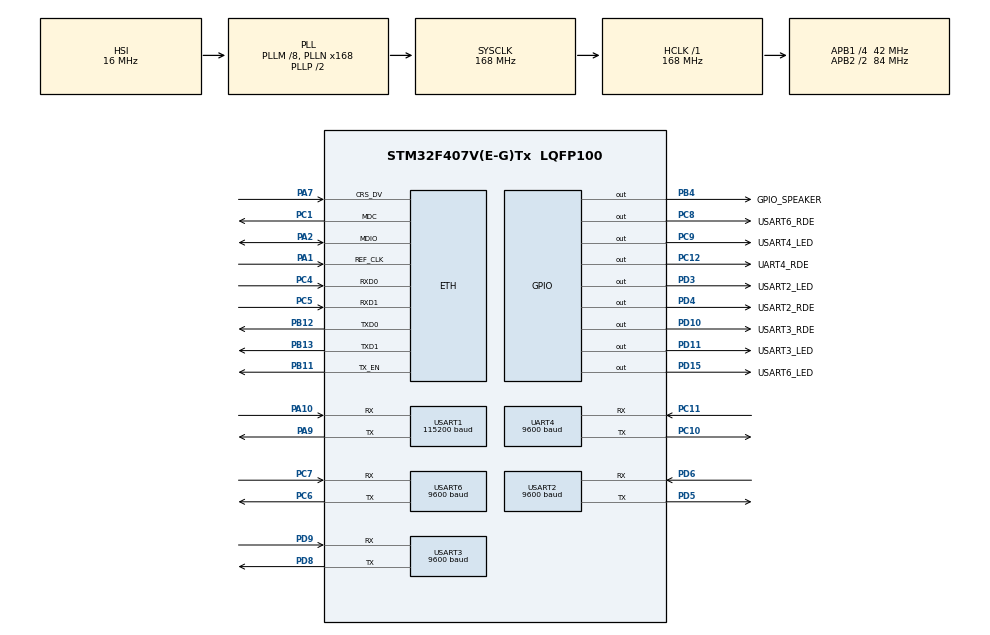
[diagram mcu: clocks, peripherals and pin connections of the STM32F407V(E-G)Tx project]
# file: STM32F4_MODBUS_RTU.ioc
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ETH.AutoNegotiation=ETH_AUTONEGOTIATION_ENABLE
ETH.ChecksumMode=ETH_CHECKSUM_BY_HARDWARE
ETH.MACAddr=00\:80\:E1\:00\:00\:00
ETH.MediaInterface=ETH_MEDIA_INTERFACE_RMII
ETH.PHY_Name_RMII=userPHY
ETH.PHY_READ_TO=0x0004FFFF
ETH.PHY_WRITE_TO=0x0004FFFF
FREERTOS.BinarySemaphores01=netMqttIpSemaphore,Dynamic,NULL
FREERTOS.HEAP_NUMBER=4
FREERTOS.INCLUDE_vTaskCleanUpResources=1
FREERTOS.Tasks01=defaultTask,0,512,StartDefaultTask,Default,NULL,Dynamic,NULL,NULL
FREERTOS.Timers01=myTimer01,Callback01,osTimerPeriodic,Default,NULL,Dynamic,NULL
FREERTOS.configCHECK_FOR_STACK_OVERFLOW=1
FREERTOS.configMAX_PRIORITIES=7
FREERTOS.configTOTAL_HEAP_SIZE=51200
FREERTOS.configUSE_DAEMON_TASK_STARTUP_HOOK=1
FREERTOS.configUSE_IDLE_HOOK=0
FREERTOS.configUSE_MALLOC_FAILED_HOOK=1
FREERTOS.configUSE_NEWLIB_REENTRANT=0
FREERTOS.configUSE_TICK_HOOK=0
FREERTOS.configUSE_TIMERS=1
FREERTOS.copyHeapFile=1
LWIP.GATEWAY_ADDRESS=192.168.001.001
LWIP.IP_ADDRESS=192.168.001.020
LWIP.LWIP_DHCP=0
LWIP.LWIP_HTTPD=1
LWIP.MEMP_NUM_PBUF=16*2
LWIP.MEMP_NUM_RAW_PCB=4*2
LWIP.MEMP_NUM_TCP_PCB_LISTEN=8*2
LWIP.MEM_SIZE=1600*10
LWIP.NETMASK_ADDRESS=255.255.255.000
LWIP.PBUF_POOL_BUFSIZE=592
LWIP.TCP_MSS=1024
LWIP.Version=v2.1.2_Cube
Mcu.Family=STM32F4
Mcu.Name=STM32F407V(E-G)Tx
Mcu.Package=LQFP100
Mcu.UserConstants=userPHY,0x00;PHY_USER_NAME_PHY_ADDRESS,0x00
NVIC.ETH_IRQn=true\:0\:0\:false\:false\:true\:true\:false\:true
NVIC.PriorityGroup=NVIC_PRIORITYGROUP_4
NVIC.TIM1_UP_TIM10_IRQn=true\:0\:0\:false\:false\:true\:false\:false\:true
NVIC.TIM7_IRQn=true\:5\:0\:true\:false\:true\:true\:true\:true
NVIC.TimeBase=TIM1_UP_TIM10_IRQn
NVIC.TimeBaseIP=TIM1
NVIC.UART4_IRQn=true\:0\:0\:false\:false\:true\:true\:true\:true
NVIC.USART1_IRQn=true\:0\:0\:false\:false\:true\:true\:true\:true
NVIC.USART2_IRQn=true\:0\:0\:false\:false\:true\:true\:true\:true
NVIC.USART3_IRQn=true\:0\:0\:false\:false\:true\:true\:true\:true
NVIC.USART6_IRQn=true\:5\:0\:true\:false\:true\:true\:true\:true
PA1.Mode=RMII
PA1.Signal=ETH_REF_CLK
PA10.Mode=Asynchronous
PA10.Signal=USART1_RX
PA13.GPIO_Label=SWDIO
PA13.Mode=Serial_Wire
PA13.Signal=SYS_JTMS-SWDIO
PA14.GPIO_Label=SWCLK
PA14.Mode=Serial_Wire
PA14.Signal=SYS_JTCK-SWCLK
PA2.Mode=RMII
PA2.Signal=ETH_MDIO
PA7.Mode=RMII
PA7.Signal=ETH_CRS_DV
PA9.Mode=Asynchronous
PA9.Signal=USART1_TX
PB11.Mode=RMII
PB11.Signal=ETH_TX_EN
PB12.Mode=RMII
PB12.Signal=ETH_TXD0
PB13.Mode=RMII
PB13.Signal=ETH_TXD1
PB3.GPIO_Label=SWO
PB3.Signal=SYS_JTDO-SWO
PB4.GPIO_Label=GPIO_SPEAKER
PB4.Signal=GPIO_Output
PC1.Mode=RMII
PC1.Signal=ETH_MDC
PC10.Mode=Asynchronous
PC10.Signal=UART4_TX
PC11.Mode=Asynchronous
PC11.Signal=UART4_RX
PC12.GPIO_Label=UART4_RDE
PC12.Signal=GPIO_Output
PC14-OSC32_IN.GPIO_Label=PC14-OSC32_IN
PC14-OSC32_IN.Signal=RCC_OSC32_IN
PC15-OSC32_OUT.GPIO_Label=PC15-OSC32_OUT
PC15-OSC32_OUT.Signal=RCC_OSC32_OUT
PC4.Mode=RMII
PC4.Signal=ETH_RXD0
PC5.Mode=RMII
PC5.Signal=ETH_RXD1
PC6.Mode=Asynchronous
PC6.Signal=USART6_TX
PC7.Mode=Asynchronous
PC7.Signal=USART6_RX
PC8.GPIO_Label=USART6_RDE
PC8.Signal=GPIO_Output
PC9.GPIO_Label=USART4_LED
PC9.Signal=GPIO_Output
PD10.GPIO_Label=USART3_RDE
PD10.Signal=GPIO_Output
PD11.GPIO_Label=USART3_LED
PD11.Signal=GPIO_Output
PD15.GPIO_Label=USART6_LED
PD15.Signal=GPIO_Output
PD3.GPIO_Label=USART2_LED
PD3.Signal=GPIO_Output
PD4.GPIO_Label=USART2_RDE
PD4.Signal=GPIO_Output
PD5.Mode=Asynchronous
PD5.Signal=USART2_TX
PD6.Mode=Asynchronous
PD6.Signal=USART2_RX
PD8.Mode=Asynchronous
PD8.Signal=USART3_TX
PD9.Mode=Asynchronous
PD9.Signal=USART3_RX
PH0-OSC_IN.GPIO_Label=PH0-OSC_IN
PH0-OSC_IN.Mode=HSE-External-Oscillator
PH0-OSC_IN.Signal=RCC_OSC_IN
PH1-OSC_OUT.GPIO_Label=PH1-OSC_OUT
PH1-OSC_OUT.Mode=HSE-External-Oscillator
PH1-OSC_OUT.Signal=RCC_OSC_OUT
ProjectManager.HeapSize=0x200
ProjectManager.StackSize=0x400
ProjectManager.TargetToolchain=STM32CubeIDE
RCC.48MHZClocksFreq_Value=48000000
RCC.AHBFreq_Value=168000000
RCC.APB1CLKDivider=RCC_HCLK_DIV4
RCC.APB1Freq_Value=42000000
RCC.APB1TimFreq_Value=84000000
RCC.APB2CLKDivider=RCC_HCLK_DIV2
RCC.APB2Freq_Value=84000000
RCC.APB2TimFreq_Value=168000000
RCC.CortexFreq_Value=168000000
RCC.HCLKFreq_Value=168000000
RCC.HSE_VALUE=12000000
RCC.HSI_VALUE=16000000
RCC.LSE_VALUE=32768
RCC.PLLM=8
RCC.PLLN=168
RCC.PLLQ=7
RCC.SYSCLKFreq_VALUE=168000000
RCC.SYSCLKSource=RCC_SYSCLKSOURCE_PLLCLK
RCC.VCOOutputFreq_Value=336000000
RTC.Format=RTC_FORMAT_BCD
TIM7.TIM_MasterOutputTrigger=TIM_TRGO_UPDATE
UART4.BaudRate=9600
UART4.VirtualMode=Asynchronous
USART1.BaudRate=115200
USART1.VirtualMode=VM_ASYNC
USART2.BaudRate=9600
USART2.VirtualMode=VM_ASYNC
USART3.BaudRate=9600
USART3.VirtualMode=VM_ASYNC
USART6.BaudRate=9600
USART6.VirtualMode=VM_ASYNC
VP_FREERTOS_VS_CMSIS_V1.Mode=CMSIS_V1
VP_LWIP_VS_Enabled.Mode=Enabled
VP_RTC_VS_RTC_Activate.Mode=RTC_Enabled
VP_RTC_VS_RTC_Calendar.Mode=RTC_Calendar
VP_SYS_VS_tim1.Mode=TIM1
VP_TIM7_VS_ClockSourceINT.Mode=Enable_Timer
board=STM32F4DISCOVERY

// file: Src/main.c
/* USER CODE BEGIN Header */
/**
  ******************************************************************************
  * @file           : main.c
  * @brief          : Main program body
  ******************************************************************************
  * @attention
  *
  * <h2><center>&copy; Copyright (c) 2020 STMicroelectronics.
  * All rights reserved.</center></h2>
  *
  * This software component is licensed by ST under Ultimate Liberty license
  * SLA0044, the "License"; You may not use this file except in compliance with
  * the License. You may obtain a copy of the License at:
  *                             www.st.com/SLA0044
  *
  ******************************************************************************
  */
/* USER CODE END Header */

#include "main.h"
#include "cmsis_os.h"
#include "lwip.h"
#include "rtc.h"
#include "tim.h"
#include "usart.h"
#include "gpio.h"

/* USER CODE BEGIN Includes */
#include <stdint.h>
#include <stdio.h>
#include <string.h>

//#include "..\Middlewares\Third_Party\modbus\include\mb_m.h"
#include "mb_m.h"
#include "mbport.h"
#include "flash.h"
#include "param.h"
/* USER CODE END Includes */

/* USER CODE BEGIN PV */
/* Private variables ---------------------------------------------------------*/
extern host_param_t hostParam;
extern network_param_t netParam;
extern network_param_t mqttHostParam;
uint8_t PRINTF_EN;
/* Shared variables ------------------*/
extern osThreadId mbProtocolTask;
extern osThreadId mbAppTask;
extern osThreadId mbDownlinkTask;
//extern osThreadId provisionTask;  // HERE

/* USER CODE END PV */

void SystemClock_Config(void);
void MX_FREERTOS_Init(void);
/* USER CODE BEGIN PFP */
/* Private function prototypes -----------------------------------------------*/

void vApplicationStackOverflowHook( TaskHandle_t xTask,
                                    signed char *pcTaskName );
/* USER CODE END PFP */

int main(void)
{

  /* MCU Configuration--------------------------------------------------------*/

  /* Reset of all peripherals, Initializes the Flash interface and the Systick. */
  HAL_Init();

  /* Configure the system clock */
  SystemClock_Config();

  /* Initialize all configured peripherals */
  MX_GPIO_Init();
  MX_USART2_UART_Init();
  MX_TIM7_Init();
  MX_USART1_UART_Init();
  MX_USART3_UART_Init();
  MX_UART4_Init();
  MX_USART6_UART_Init();
  MX_RTC_Init();
  /* USER CODE BEGIN 2 */
	for(int i =0; i <2; i++)
	{
	HAL_GPIO_TogglePin(USART2_LED_GPIO_Port,USART2_LED_Pin );
	HAL_Delay(100);
	HAL_GPIO_TogglePin(USART3_LED_GPIO_Port,USART2_LED_Pin );
	HAL_Delay(100);
	HAL_GPIO_TogglePin(USART4_LED_GPIO_Port,USART4_LED_Pin );
	HAL_Delay(100);
	HAL_GPIO_TogglePin(USART6_LED_GPIO_Port,USART6_LED_Pin );
	HAL_Delay(100);
	}
	__HAL_UART_ENABLE_IT(&huart1, UART_IT_RXNE);

	printf("\r\n ********* Access Controller Board **************** \r\n");
	printf("\r\n NTT BK \r\n");
	printf("\r\n System  starting \r\n");
	__disable_irq();
	xFlashLoad();
	__enable_irq();
  /* USER CODE END 2 */
  /* Call init function for freertos objects (in freertos.c) */
  MX_FREERTOS_Init();
  /* Start scheduler */
  osKernelStart();

  /* We should never get here as control is now taken by the scheduler */
  /* Infinite loop */
  while (1)
  {

  }
}

void SystemClock_Config(void)
{
  RCC_OscInitTypeDef RCC_OscInitStruct = {0};
  RCC_ClkInitTypeDef RCC_ClkInitStruct = {0};
  RCC_PeriphCLKInitTypeDef PeriphClkInitStruct = {0};

  /** Configure the main internal regulator output voltage
  */
  __HAL_RCC_PWR_CLK_ENABLE();
  __HAL_PWR_VOLTAGESCALING_CONFIG(PWR_REGULATOR_VOLTAGE_SCALE1);
  /** Initializes the CPU, AHB and APB busses clocks
  */
  RCC_OscInitStruct.OscillatorType = RCC_OSCILLATORTYPE_HSI|RCC_OSCILLATORTYPE_LSI;
  RCC_OscInitStruct.HSIState = RCC_HSI_ON;
  RCC_OscInitStruct.HSICalibrationValue = RCC_HSICALIBRATION_DEFAULT;
  RCC_OscInitStruct.LSIState = RCC_LSI_ON;
  RCC_OscInitStruct.PLL.PLLState = RCC_PLL_ON;
  RCC_OscInitStruct.PLL.PLLSource = RCC_PLLSOURCE_HSI;
  RCC_OscInitStruct.PLL.PLLM = 8;
  RCC_OscInitStruct.PLL.PLLN = 168;
  RCC_OscInitStruct.PLL.PLLP = RCC_PLLP_DIV2;
  RCC_OscInitStruct.PLL.PLLQ = 7;
  if (HAL_RCC_OscConfig(&RCC_OscInitStruct) != HAL_OK)
  {
    Error_Handler();
  }
  /** Initializes the CPU, AHB and APB busses clocks
  */
  RCC_ClkInitStruct.ClockType = RCC_CLOCKTYPE_HCLK|RCC_CLOCKTYPE_SYSCLK
                              |RCC_CLOCKTYPE_PCLK1|RCC_CLOCKTYPE_PCLK2;
  RCC_ClkInitStruct.SYSCLKSource = RCC_SYSCLKSOURCE_PLLCLK;
  RCC_ClkInitStruct.AHBCLKDivider = RCC_SYSCLK_DIV1;
  RCC_ClkInitStruct.APB1CLKDivider = RCC_HCLK_DIV4;
  RCC_ClkInitStruct.APB2CLKDivider = RCC_HCLK_DIV2;

  if (HAL_RCC_ClockConfig(&RCC_ClkInitStruct, FLASH_LATENCY_5) != HAL_OK)
  {
    Error_Handler();
  }
  PeriphClkInitStruct.PeriphClockSelection = RCC_PERIPHCLK_RTC;
  PeriphClkInitStruct.RTCClockSelection = RCC_RTCCLKSOURCE_LSI;
  if (HAL_RCCEx_PeriphCLKConfig(&PeriphClkInitStruct) != HAL_OK)
  {
    Error_Handler();
  }
}

/* USER CODE BEGIN 4 */

/**
  * @brief  Retargets the C library printf function to the USART.
  * @param  None
  * @retval None
  */
PUTCHAR_PROTOTYPE
{
  /* Place your implementation of fputc here */
  /* e.g. write a character to the USART */
//  USART_SendData(EVAL_COM1, (uint8_t) ch);
	HAL_UART_Transmit(&huart1, (uint8_t *)&ch, 1, 0xFFFF);

  /* Loop until the end of transmission */
//  while (USART_GetFlagStatus(EVAL_COM1, USART_FLAG_TC) == RESET)
//  {}

  return ch;
}
/* USER CODE END 4 */

 /**
  * @brief  Period elapsed callback in non blocking mode
  * @note   This function is called  when TIM1 interrupt took place, inside
  * HAL_TIM_IRQHandler(). It makes a direct call to HAL_IncTick() to increment
  * a global variable "uwTick" used as application time base.
  * @param  htim : TIM handle
  * @retval None
  */
void HAL_TIM_PeriodElapsedCallback(TIM_HandleTypeDef *htim)
{
  if (htim->Instance == TIM1) {
    HAL_IncTick();
  }
  /* USER CODE BEGIN Callback 1 */
 void vApplicationStackOverflowHook( TaskHandle_t xTask,
                                      signed char *pcTaskName )
  {
	  printf("\r\n Stack Overflowwwww ");
  }
 void vApplicationMallocFailedHook(void){
	 printf("\r\n vApplicationMallocFailedHook: Stack Overflowwwww ");
 }
 void vApplicationDaemonTaskStartupHook(void)
 {
	 printf("\r\n vApplicationDaemonTaskStartupHook");
 }
  /* USER CODE END Callback 1 */
}

void Error_Handler(void)
{
  /* USER CODE BEGIN Error_Handler_Debug */
  /* User can add his own implementation to report the HAL error return state */
	  printf("\r\n Error_Handler ");
  /* USER CODE END Error_Handler_Debug */
}

/************************ (C) COPYRIGHT STMicroelectronics *****END OF FILE****/

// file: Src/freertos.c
/* USER CODE BEGIN Header */
/**
 ******************************************************************************
 * File Name          : freertos.c
 * Description        : Code for freertos applications
 ******************************************************************************
 * @attention
 *
 * <h2><center>&copy; Copyright (c) 2020 STMicroelectronics.
 * All rights reserved.</center></h2>
 *
 * This software component is licensed by ST under Ultimate Liberty license
 * SLA0044, the "License"; You may not use this file except in compliance with
 * the License. You may obtain a copy of the License at:
 *                             www.st.com/SLA0044
 *
 ******************************************************************************
 */
/* USER CODE END Header */

#include "FreeRTOS.h"
#include "task.h"
#include "main.h"
#include "cmsis_os.h"

/* USER CODE BEGIN Includes */
#include "stdint.h"
#include "stdio.h"
#include "rtc.h"
#include "usart.h"
#include <command.h>
#include "cmdline.h"
/* USER CODE END Includes */

/* USER CODE BEGIN Variables */
/* Shared variables ------------------*/
extern osThreadId mbProtocolTask;
extern osThreadId mbAppTask;
extern osThreadId netPROVISIONTask; // HERE
extern osThreadId netSIMTask;  // HERE
extern osThreadId mbDownlinkTask; // HERE
extern osThreadId netTimeTask;
extern osThreadId netHTTPTask;
extern osThreadId netMQTTTask;
extern osThreadId netTcpEchoTask;
osThreadId resetHandlerTask;
osThreadId flashTask;
extern uint32_t gotCommandFlag;
extern uint8_t commandBuffer[100];
extern uint32_t commandBufferIndex;
//extern network_param_t mqttHostParam;
osMessageQId xQueueControlHandle;
osMessageQId xQueueMessageHandle;
osMessageQId xQueueDownlinkHandle;
osMessageQId xQueueUplinkHandle;
osMessageQId xQueueResetHandle;
/* USER CODE END Variables */
osThreadId defaultTaskHandle;
osTimerId myTimer01Handle;
osSemaphoreId netMqttIpSemaphoreHandle;

/* USER CODE BEGIN FunctionPrototypes */
extern void ModbusRTUTask(void const * argument);
extern void ModbusTestTask(void const * argument);
extern void ModbusDownlinkTask(void const * argument); //HERE
extern void http_server_netconn_init();
extern void NetworkTimeTask(void const *arg);
extern void TcpDiscoverTask(void *arg);
extern void http_server_netconn_thread();
extern void netmqttTask(void const *arg);
extern void netsimTask(void const *arg); // HERE
extern void ProvisionTestTask(void const *arg); // HERE

void ResetHandlerTask(void *arg);
/* USER CODE END FunctionPrototypes */

void StartDefaultTask(void const * argument);
void Callback01(void const * argument);

extern void MX_LWIP_Init(void);
void MX_FREERTOS_Init(void); /* (MISRA C 2004 rule 8.1) */

/* GetIdleTaskMemory prototype (linked to static allocation support) */
void vApplicationGetIdleTaskMemory( StaticTask_t **ppxIdleTaskTCBBuffer, StackType_t **ppxIdleTaskStackBuffer, uint32_t *pulIdleTaskStackSize );

/* GetTimerTaskMemory prototype (linked to static allocation support) */
void vApplicationGetTimerTaskMemory( StaticTask_t **ppxTimerTaskTCBBuffer, StackType_t **ppxTimerTaskStackBuffer, uint32_t *pulTimerTaskStackSize );

/* Hook prototypes */
void vApplicationStackOverflowHook(xTaskHandle xTask, signed char *pcTaskName);
void vApplicationMallocFailedHook(void);
void vApplicationDaemonTaskStartupHook(void);

/* USER CODE BEGIN 4 */
__weak void vApplicationStackOverflowHook(xTaskHandle xTask,
		signed char *pcTaskName) {
	/* Run time stack overflow checking is performed if
	 configCHECK_FOR_STACK_OVERFLOW is defined to 1 or 2. This hook function is
	 called if a stack overflow is detected. */
}
/* USER CODE END 4 */

/* USER CODE BEGIN 5 */
__weak void vApplicationMallocFailedHook(void) {
	/* vApplicationMallocFailedHook() will only be called if
	 configUSE_MALLOC_FAILED_HOOK is set to 1 in FreeRTOSConfig.h. It is a hook
	 function that will get called if a call to pvPortMalloc() fails.
	 pvPortMalloc() is called internally by the kernel whenever a task, queue,
	 timer or semaphore is created. It is also called by various parts of the
	 demo application. If heap_1.c or heap_2.c are used, then the size of the
	 heap available to pvPortMalloc() is defined by configTOTAL_HEAP_SIZE in
	 FreeRTOSConfig.h, and the xPortGetFreeHeapSize() API function can be used
	 to query the size of free heap space that remains (although it does not
	 provide information on how the remaining heap might be fragmented). */
}
/* USER CODE END 5 */

/* USER CODE BEGIN DAEMON_TASK_STARTUP_HOOK */
void vApplicationDaemonTaskStartupHook(void) {
}
/* USER CODE END DAEMON_TASK_STARTUP_HOOK */

/* USER CODE BEGIN GET_IDLE_TASK_MEMORY */
static StaticTask_t xIdleTaskTCBBuffer;
static StackType_t xIdleStack[configMINIMAL_STACK_SIZE];

void vApplicationGetIdleTaskMemory(StaticTask_t **ppxIdleTaskTCBBuffer,
		StackType_t **ppxIdleTaskStackBuffer, uint32_t *pulIdleTaskStackSize) {
	*ppxIdleTaskTCBBuffer = &xIdleTaskTCBBuffer;
	*ppxIdleTaskStackBuffer = &xIdleStack[0];
	*pulIdleTaskStackSize = configMINIMAL_STACK_SIZE;
	/* place for user code */
}
/* USER CODE END GET_IDLE_TASK_MEMORY */

/* USER CODE BEGIN GET_TIMER_TASK_MEMORY */
static StaticTask_t xTimerTaskTCBBuffer;
static StackType_t xTimerStack[configTIMER_TASK_STACK_DEPTH];

void vApplicationGetTimerTaskMemory(StaticTask_t **ppxTimerTaskTCBBuffer,
		StackType_t **ppxTimerTaskStackBuffer, uint32_t *pulTimerTaskStackSize) {
	*ppxTimerTaskTCBBuffer = &xTimerTaskTCBBuffer;
	*ppxTimerTaskStackBuffer = &xTimerStack[0];
	*pulTimerTaskStackSize = configTIMER_TASK_STACK_DEPTH;
	/* place for user code */
}
/* USER CODE END GET_TIMER_TASK_MEMORY */

void MX_FREERTOS_Init(void) {

  /* Create the semaphores(s) */
  /* definition and creation of netMqttIpSemaphore */
  osSemaphoreDef(netMqttIpSemaphore);
  netMqttIpSemaphoreHandle = osSemaphoreCreate(osSemaphore(netMqttIpSemaphore), 1);

  /* Create the timer(s) */
  /* definition and creation of myTimer01 */
  osTimerDef(myTimer01, Callback01);
  myTimer01Handle = osTimerCreate(osTimer(myTimer01), osTimerPeriodic, NULL);

  /* USER CODE BEGIN RTOS_QUEUES */
	/* add queues, ... */

	osMessageQDef(xQueueControl, 1, xQueueControl_t);
	xQueueControlHandle = osMessageCreate(osMessageQ(xQueueControl), NULL);

	osMessageQDef(xQueueMessage, 1, uint8_t);
	xQueueMessageHandle = osMessageCreate(osMessageQ(xQueueMessage), NULL);

	osMessageQDef(xQueueDownlink, 1, xQueueMbMqtt_t);
	xQueueDownlinkHandle = osMessageCreate(osMessageQ(xQueueDownlink), NULL);

	osMessageQDef(xQueueUplink, 1, xQueueMbMqtt_t);
	xQueueUplinkHandle = osMessageCreate(osMessageQ(xQueueUplink), NULL);

	osMessageQDef(xQueueReset, 1, sizeof(uint32_t));
	xQueueResetHandle = osMessageCreate(osMessageQ(xQueueUplink), NULL);

  /* USER CODE END RTOS_QUEUES */

  /* Create the thread(s) */
  /* definition and creation of defaultTask */
  osThreadDef(defaultTask, StartDefaultTask, osPriorityNormal, 0, 512);
  defaultTaskHandle = osThreadCreate(osThread(defaultTask), NULL);

}

void StartDefaultTask(void const * argument)
{
  /* init code for LWIP */
	MX_LWIP_Init();
  /* USER CODE BEGIN StartDefaultTask */
	/*Create Task Modules in this line*/

	/*Modbus protocol stack*/
	osThreadDef(mbProtocolTask, ModbusRTUTask, osPriorityNormal, 0, 4 * 128);
	mbProtocolTask = osThreadCreate(osThread(mbProtocolTask), NULL);
	printf("\r\n MemFree: %d", xPortGetFreeHeapSize());

	/*Modbus app*/
	osThreadDef(mbAppTask, ModbusTestTask, osPriorityNormal, 0, 2 * 128);
	mbAppTask = osThreadCreate(osThread(mbAppTask), NULL);
	printf("\r\n MemFree: %d", xPortGetFreeHeapSize());

	/*Modbus Downlink */
	osThreadDef(mbDownlinkTask, ModbusDownlinkTask, osPriorityNormal, 0, 2 * 128);
	mbDownlinkTask= osThreadCreate(osThread(mbDownlinkTask), NULL);
	printf("\r\n MemFree: %d", xPortGetFreeHeapSize());

	/*Get time*/
	osThreadDef(netTimeTask, NetworkTimeTask, osPriorityNormal, 0, 4 * 128);
	netTimeTask = osThreadCreate(osThread(netTimeTask), NULL);
	printf("\r\n MemFree: %d", xPortGetFreeHeapSize());

	/*Tcp Server for CORE discovery*/
	osThreadDef(netTcpEchoTask, TcpDiscoverTask, osPriorityNormal, 0, 2 * 128);
	netTcpEchoTask = osThreadCreate(osThread(netTcpEchoTask), NULL);
	printf("\r\n MemFree: %d", xPortGetFreeHeapSize());

	/*MQTT serive*/
	osThreadDef(netMQTTTask, netmqttTask, osPriorityNormal, 0, 14 * 256);
	netMQTTTask = osThreadCreate(osThread(netMQTTTask), NULL);
	printf("\r\n MemFree: %d", xPortGetFreeHeapSize());

	/*HTTP service*/
	osThreadDef(netHTTPTask, http_server_netconn_thread, osPriorityNormal, 0,2 * 128);
	netHTTPTask = osThreadCreate(osThread(netHTTPTask), NULL);
	if (netHTTPTask == NULL) {
		printf("\r\n netHTTP task cannot be created!");
	}

	/*Provision TASk*/
//	osThreadDef(netPROVISIONTask,ProvisionTestTask, osPriorityNormal, 0,2 * 128);
//	netPROVISIONTask = osThreadCreate(osThread(netPROVISIONTask), NULL);
//	if (netHTTPTask == NULL) {
//		printf("\r\n netHTTP task cannot be created!");
//	}

//	/*Module SIM serive*/			/*-------------------------    							HERE*/
//	osThreadDef(netSIMTask, netsimTask, osPriorityNormal, 0, 14 * 256);
//	netSIMTask = osThreadCreate(osThread(netSIMTask), NULL);
//	printf("\r\n MemFree: %d", xPortGetFreeHeapSize());

	/*Reset Handler*/
	osThreadDef(resetHandlerTask, ResetHandlerTask, osPriorityRealtime, 0, 128);
	resetHandlerTask = osThreadCreate(osThread(resetHandlerTask), NULL);
	printf("\r\n MemFree: %d", xPortGetFreeHeapSize());
	printf("\r\n MemFree: %d", xPortGetFreeHeapSize());

	/*Controller*/
	xQueueControl_t xQueueControl;
	#define PORT_DEFAULT_DELAY	1000
	uint8_t uiSysState = SYS_START;
	uint8_t uiSysUpdate = FALSE;
	BaseType_t sysError;

	RTC_TimeTypeDef sTime = { 0 };
	RTC_DateTypeDef sDate = { 0 };
	int ret;
	char *Badcommand = "Bad Command\r\n>";
	/* Infinite loop */
	for (;;) {
		switch (uiSysState) {
		case SYS_START:
			printf("\r\n Task Controller: Implementing...  \r\n");
			uiSysUpdate = TRUE;
			uiSysState++;
			break;
		case SYS_MB_PROTOCOL:
			printf("\r\n Starting mbProtocolTask module:  \r\n");
			sysError = xQueueReceive(xQueueControlHandle, &xQueueControl,
			portMAX_DELAY);
			if (sysError == pdPASS) {
				if ((xQueueControl.xState == TASK_RUNNING)
						&& (xQueueControl.xTask == mbProtocolTask)) {

					printf("\r\n Starting mbProtocolTask module: OK \r\n");
					uiSysUpdate = TRUE;
					uiSysState++;
				}

			} else {
				printf(
						"\r\n Starting mbProtocolTask module: Responding Timeout \r\n");
			}
			break;
		case SYS_MB_APP:
			printf("\r\n Starting mbAppTask module:  \r\n");
			sysError = xQueueReceive(xQueueControlHandle, &xQueueControl,
			portMAX_DELAY);
			if (sysError == pdTRUE) {
				if ((xQueueControl.xState == TASK_RUNNING)
						&& (xQueueControl.xTask == mbAppTask)) {
					printf("\r\n Starting mbAppTask module: OK \r\n");
					uiSysUpdate = TRUE;
					uiSysState++;

				}
			} else {
				printf(
						"\r\n Starting mbAppTask module: Responding Timeout \r\n");
			}
			break;
		case SYS_MB_DOWNLINK:
			printf("\r\n Starting mbDownlinkTask module:  \r\n");
			sysError = xQueueReceive(xQueueControlHandle, &xQueueControl,
			portMAX_DELAY);
			if (sysError == pdTRUE) {
				if ((xQueueControl.xState == TASK_RUNNING)
						&& (xQueueControl.xTask == mbDownlinkTask)) {
					printf("\r\n Starting mbDownlinkTask module: OK \r\n");
					uiSysUpdate = TRUE;
					uiSysState++;

				}
			} else {
				printf(
						"\r\n Starting mbDownlinkTask module: Responding Timeout \r\n");
			}
			break;
		case SYS_NET_TIME:
			#define portDEFAULT_DELAY 1000
			printf("\r\n Starting netTimeTask");
			sysError = xQueueReceive(xQueueControlHandle, &xQueueControl,
			portDEFAULT_DELAY);
			if (sysError == pdTRUE) {
				if ((xQueueControl.xState == TASK_RUNNING)
						&& (xQueueControl.xTask == netTimeTask)) {
					printf("\r\n Starting netTimeTask  module: OK \r\n");
					uiSysUpdate = TRUE;
					uiSysState++;

					/*Warning - Delete netTimeTask to save resource !!*/
					/*Update  - Resource is a ocean so we shouldn't think about it if we don't want to get any bugs*/
//					vTaskDelete(netTimeTask);
//					printf("\r\n Killing netTimeTask module: OK \r\n");
				}
			} else {
				printf(
						"\r\n Starting netTimeTask module: Responding Timeout \r\n");
				uiSysUpdate = TRUE;
				uiSysState++;
			}
			break;
		case SYS_CORE_DISCOV:
			printf("\r\n Waiting for CORE discovery in %d ms:  \r\n",
			portDEFAULT_DELAY);
			sysError = xQueueReceive(xQueueControlHandle, &xQueueControl,
			portDEFAULT_DELAY);
			if (sysError == pdTRUE) {
				if ((xQueueControl.xState == TASK_RUNNING)
						&& (xQueueControl.xTask == netTcpEchoTask)) {
					printf("\r\n  Waiting for CORE discovery: OK \r\n");
					uiSysUpdate = TRUE;
					uiSysState++;
				} else if ((xQueueControl.xState == TASK_ERR_1)
						&& (xQueueControl.xTask == netTcpEchoTask)) {
					printf(
							"\r\n  Waiting for CORE discovery: Timeout, use pre-configured MQTT server \r\n");
				}
			} else {
				printf("\r\n Waiting for CORE discovery: Timeout \r\n");
				uiSysUpdate = TRUE;
				uiSysState++;
			}
			break;
		case SYS_MQTT:
			printf("\r\n Starting netMQTTTask module:  \r\n");
			sysError = xQueueReceive(xQueueControlHandle, &xQueueControl,
			portDEFAULT_DELAY);
			if (sysError == pdTRUE) {
				if ((xQueueControl.xState == TASK_RUNNING)
						&& (xQueueControl.xTask == netMQTTTask)) {
					printf("\r\n Starting netMQTTTask module: OK \r\n");
					uiSysUpdate = TRUE;
					uiSysState++;
				}
			} else {
				printf(
						"\r\n Starting netMQTTTask module: Responding Timeout \r\n");
				uiSysUpdate = TRUE;
				uiSysState++;
			}
			break;
		case SYS_HTTP:
			sysError = xQueueReceive(xQueueControlHandle, &xQueueControl,portMAX_DELAY);
			if (sysError == pdTRUE) {
				if ((xQueueControl.xState == TASK_RUNNING)
						&& (xQueueControl.xTask == netHTTPTask)) {
					printf("\r\n Starting netHTTPTask module: OK \r\n");
					uiSysUpdate = TRUE;
					uiSysState++;
				}
			} else {
				printf(
						"\r\n Starting netHTTPTask module: Responding Timeout \r\n");
				uiSysUpdate = TRUE;
				uiSysState++;
			}
			break;
//		case SYS_PROVISION:
//			printf("\r\n Starting PROVISION module:  \r\n");
//			sysError = xQueueReceive(xQueueControlHandle, &xQueueControl,portDEFAULT_DELAY);
//			if (sysError == pdTRUE) {
//				if ((xQueueControl.xState == TASK_RUNNING) && (xQueueControl.xTask == netPROVISIONTask)) {
//					printf("\r\n Starting netMQTTTask module: OK \r\n");
//					uiSysUpdate = TRUE;
//					uiSysState++;
//				}
//			} else {
//				printf(
//						"\r\n Starting netMQTTTask module: Responding Timeout \r\n");
//				uiSysUpdate = TRUE;
//				uiSysState++;
//			}
//			break;
		case SYS_DEFAULT:
			if (gotCommandFlag) {
				gotCommandFlag = 0;
				ret = CmdLineProcess(commandBuffer);
				if (ret == CMDLINE_BAD_CMD)
					HAL_UART_Transmit(&huart1, Badcommand, strlen(Badcommand),100);
			}
			osDelay(10);
			break;

		}
		if ((uiSysUpdate == TRUE) && (uiSysState != SYS_DEFAULT)) {
			xQueueSend(xQueueMessageHandle, &uiSysState, 0);
			uiSysUpdate = FALSE;
		}
//		osDelay(200);
	}
  /* USER CODE END StartDefaultTask */
}

/* Callback01 function */
void Callback01(void const * argument)
{
  /* USER CODE BEGIN Callback01 */
	/*FreeRTOS Timer API for Modbus protocol stack*/
	prvvMasterTIMERExpiredISR();
  /* USER CODE END Callback01 */
}

/* USER CODE BEGIN Application */

/*Brief: Waiting until semaphore do someting
 * 	+ Flash save
 * 	+ Reset Machine
 *
 * */
void FlashTask(void *arg) {
	xFlashSave();
	vTaskDelay(100);
	NVIC_SystemReset();

	while (1)
		;

}
void ResetHandlerTask(void *arg)

{
	BaseType_t err = pdFALSE;
	uint32_t handle;
	while (1)
	{
		err = xQueueReceive(xQueueResetHandle, &handle, portMAX_DELAY);
		if (err == pdTRUE) {
			if (handle = 1) {
				osThreadDef(flashSave, FlashTask, osPriorityRealtime,0, 2 * 128);
				flashTask = osThreadCreate(osThread(flashSave), NULL);
				xFlashSave();
				osDelay(10);
				printf("\r\n System reset \r\n");
				NVIC_SystemReset();
			}
		}
		vTaskDelay(100);
	}
}

/* USER CODE END Application */

/************************ (C) COPYRIGHT STMicroelectronics *****END OF FILE****/
